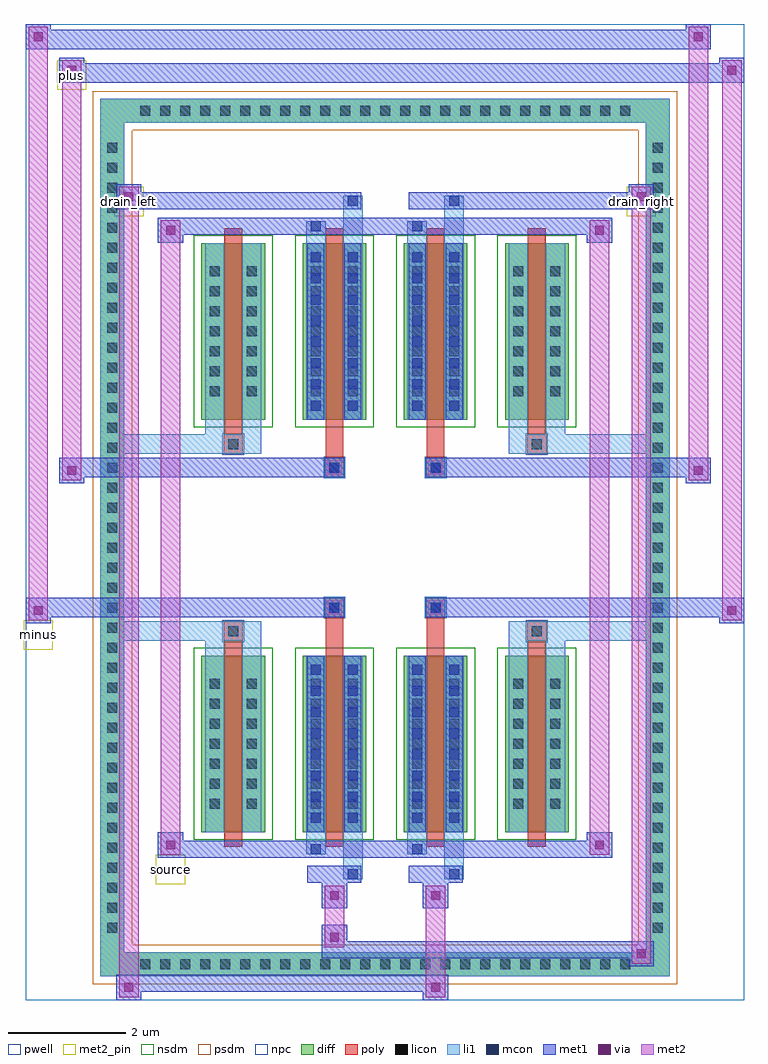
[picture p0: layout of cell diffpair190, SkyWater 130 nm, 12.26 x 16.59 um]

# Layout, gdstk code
import gdstk
lib = gdstk.Library(unit=1e-6, precision=5e-09)
def R(c, l, rs):  # rectangles x0, y0, x1, y1
    for r in rs: c.add(gdstk.rectangle(r[:2], r[2:], *l))
def A(c, l, x, y, w, h, nx, ny, dx, dy):  # array of equal rectangles
    R(c, l, [(x+i*dx, y+j*dy, x+i*dx+w, y+j*dy+h) for i in range(nx) for j in range(ny)])
def P(c, l, *ps):  # polygons
    for p in ps: c.add(gdstk.Polygon(p, *l))
pwell = (64, 44)
diff = (65, 20)
poly = (66, 20)
licon = (66, 44)
li1 = (67, 20)
mcon = (67, 44)
met1 = (68, 20)
via = (68, 44)
met2_pin = (69, 16)
met2 = (69, 20)
nsdm = (93, 44)
psdm = (94, 20)
npc = (95, 20)

diffpair190 = lib.new_cell('diffpair190')
R(diffpair190, pwell, [(-6.11,-7.86,6.11,8.73), (-3.43,-6.05,-0.01,-0.825), (0.01,-6.05,3.43,-0.825), (-3.43,0.825,-0.01,6.05), (0.01,0.825,3.43,6.05)])
A(diffpair190, diff, -4.285, -7.46, 0.41, 0.41, 25, 2, 0.34, 14.51)
A(diffpair190, diff, -4.84, -6.835, 0.41, 0.41, 1, 40, 0, 0.34)
A(diffpair190, diff, 4.43, -6.835, 0.41, 0.41, 1, 40, 0, 0.34)
A(diffpair190, diff, -3.12, -5.005, 1.08, 3, 4, 2, 1.72, 7.01)
R(diffpair190, diff, [(-4.285,-7.46,4.285,-7.05), (-4.84,-6.835,-4.43,6.835), (4.43,-6.835,4.84,6.835), (-4.285,7.05,4.285,7.46)])
P(diffpair190, diff, [(4.84,7.46),(-4.84,7.46),(-4.84,-7.05),(-4.43,-7.05),(-4.43,7.05),(4.43,7.05),(4.43,-7.05),(-4.43,-7.05),(-4.84,-7.05),(-4.84,-7.46),(4.84,-7.46)])
A(diffpair190, poly, -2.73, -5.255, 0.3, 3.5, 4, 2, 1.72, 7.01)
R(diffpair190, poly, [(-2.745,-1.755,-2.415,-1.425), (-2.745,-1.755,-2.415,-1.425), (-1.01,-1.755,-0.71,-1.355), (0.71,-1.755,1.01,-1.355), (2.415,-1.755,2.745,-1.425), (2.415,-1.755,2.745,-1.425), (-1.025,-1.355,-0.695,-1.025), (-1.025,-1.355,-0.695,-1.025), (0.695,-1.355,1.025,-1.025), (0.695,-1.355,1.025,-1.025), (-1.025,1.025,-0.695,1.355), (-1.025,1.025,-0.695,1.355), (0.695,1.025,1.025,1.355), (0.695,1.025,1.025,1.355), (-1.01,1.355,-0.71,1.755), (0.71,1.355,1.01,1.755), (-2.745,1.425,-2.415,1.755), (-2.745,1.425,-2.415,1.755), (2.415,1.425,2.745,1.755), (2.415,1.425,2.745,1.755)])
A(diffpair190, licon, -4.165, -7.34, 0.17, 0.17, 25, 2, 0.34, 14.51)
A(diffpair190, licon, -4.72, -6.715, 0.17, 0.17, 1, 40, 0, 0.34)
A(diffpair190, licon, 4.55, -6.715, 0.17, 0.17, 1, 40, 0, 0.34)
A(diffpair190, licon, -2.98, -4.61, 0.17, 0.17, 1, 7, 0, 0.34)
A(diffpair190, licon, -2.35, -4.61, 0.17, 0.17, 1, 7, 0, 0.34)
A(diffpair190, licon, -1.26, -4.61, 0.17, 0.17, 1, 7, 0, 0.34)
A(diffpair190, licon, -0.63, -4.61, 0.17, 0.17, 1, 7, 0, 0.34)
A(diffpair190, licon, 0.46, -4.61, 0.17, 0.17, 1, 7, 0, 0.34)
A(diffpair190, licon, 1.09, -4.61, 0.17, 0.17, 1, 7, 0, 0.34)
A(diffpair190, licon, 2.18, -4.61, 0.17, 0.17, 1, 7, 0, 0.34)
A(diffpair190, licon, 2.81, -4.61, 0.17, 0.17, 1, 7, 0, 0.34)
A(diffpair190, licon, -2.98, 2.4, 0.17, 0.17, 1, 7, 0, 0.34)
A(diffpair190, licon, -2.35, 2.4, 0.17, 0.17, 1, 7, 0, 0.34)
A(diffpair190, licon, -1.26, 2.4, 0.17, 0.17, 1, 7, 0, 0.34)
A(diffpair190, licon, -0.63, 2.4, 0.17, 0.17, 1, 7, 0, 0.34)
A(diffpair190, licon, 0.46, 2.4, 0.17, 0.17, 1, 7, 0, 0.34)
A(diffpair190, licon, 1.09, 2.4, 0.17, 0.17, 1, 7, 0, 0.34)
A(diffpair190, licon, 2.18, 2.4, 0.17, 0.17, 1, 7, 0, 0.34)
A(diffpair190, licon, 2.81, 2.4, 0.17, 0.17, 1, 7, 0, 0.34)
R(diffpair190, licon, [(-2.665,-1.675,-2.495,-1.505), (2.495,-1.675,2.665,-1.505), (-0.945,-1.275,-0.775,-1.105), (0.775,-1.275,0.945,-1.105), (-0.945,1.105,-0.775,1.275), (0.775,1.105,0.945,1.275), (-2.665,1.505,-2.495,1.675), (2.495,1.505,2.665,1.675)])
A(diffpair190, li1, -4.245, -7.42, 0.33, 0.33, 25, 2, 0.34, 14.51)
A(diffpair190, li1, -4.8, -6.795, 0.33, 0.33, 1, 40, 0, 0.34)
A(diffpair190, li1, 4.47, -6.795, 0.33, 0.33, 1, 40, 0, 0.34)
A(diffpair190, li1, -1.26, -4.85, 0.17, 0.17, 1, 8, 0, 0.36)
A(diffpair190, li1, -0.63, -4.85, 0.17, 0.17, 1, 8, 0, 0.36)
A(diffpair190, li1, 0.46, -4.85, 0.17, 0.17, 1, 8, 0, 0.36)
A(diffpair190, li1, 1.09, -4.85, 0.17, 0.17, 1, 8, 0, 0.36)
A(diffpair190, li1, -3.06, -4.69, 0.33, 0.33, 1, 7, 0, 0.34)
A(diffpair190, li1, -2.43, -4.69, 0.33, 0.33, 1, 7, 0, 0.34)
A(diffpair190, li1, -1.34, -4.69, 0.33, 0.33, 1, 7, 0, 0.34)
A(diffpair190, li1, -0.71, -4.69, 0.33, 0.33, 1, 7, 0, 0.34)
A(diffpair190, li1, 0.38, -4.69, 0.33, 0.33, 1, 7, 0, 0.34)
A(diffpair190, li1, 1.01, -4.69, 0.33, 0.33, 1, 7, 0, 0.34)
A(diffpair190, li1, 2.1, -4.69, 0.33, 0.33, 1, 7, 0, 0.34)
A(diffpair190, li1, 2.73, -4.69, 0.33, 0.33, 1, 7, 0, 0.34)
A(diffpair190, li1, -1.26, 2.16, 0.17, 0.17, 1, 8, 0, 0.36)
A(diffpair190, li1, -0.63, 2.16, 0.17, 0.17, 1, 8, 0, 0.36)
A(diffpair190, li1, 0.46, 2.16, 0.17, 0.17, 1, 8, 0, 0.36)
A(diffpair190, li1, 1.09, 2.16, 0.17, 0.17, 1, 8, 0, 0.36)
A(diffpair190, li1, -3.06, 2.32, 0.33, 0.33, 1, 7, 0, 0.34)
A(diffpair190, li1, -2.43, 2.32, 0.33, 0.33, 1, 7, 0, 0.34)
A(diffpair190, li1, -1.34, 2.32, 0.33, 0.33, 1, 7, 0, 0.34)
A(diffpair190, li1, -0.71, 2.32, 0.33, 0.33, 1, 7, 0, 0.34)
A(diffpair190, li1, 0.38, 2.32, 0.33, 0.33, 1, 7, 0, 0.34)
A(diffpair190, li1, 1.01, 2.32, 0.33, 0.33, 1, 7, 0, 0.34)
A(diffpair190, li1, 2.1, 2.32, 0.33, 0.33, 1, 7, 0, 0.34)
A(diffpair190, li1, 2.73, 2.32, 0.33, 0.33, 1, 7, 0, 0.34)
R(diffpair190, li1, [(-4.84,-7.46,-4.43,-7.05), (-4.84,-7.46,-4.43,-7.05), (-4.43,-7.46,4.43,-7.05), (4.43,-7.46,4.84,-7.05), (4.43,-7.46,4.84,-7.05), (-4.84,-7.05,-4.43,7.05), (4.43,-7.05,4.84,7.05), (-0.71,-5.81,-0.38,-5.005), (-0.63,-5.81,-0.46,-5.64), (1.01,-5.81,1.34,-5.005), (1.09,-5.81,1.26,-5.64), (-1.34,-5.38,-1.01,-5.005), (-1.26,-5.38,-1.09,-5.21), (0.38,-5.38,0.71,-5.005), (0.46,-5.38,0.63,-5.21), (-3.06,-5.005,-2.73,-2.005), (-2.43,-5.005,-2.1,-2.005), (-1.34,-5.005,-1.01,-2.005), (-0.71,-5.005,-0.38,-2.005), (0.38,-5.005,0.71,-2.005), (1.01,-5.005,1.34,-2.005), (2.1,-5.005,2.43,-2.005), (2.73,-5.005,3.06,-2.005), (-1.26,-4.85,-1.09,-2.16), (-0.63,-4.85,-0.46,-2.16), (0.46,-4.85,0.63,-2.16), (1.09,-4.85,1.26,-2.16), (-3.06,-2.005,-2.73,-1.425), (-2.43,-2.005,-2.1,-1.425), (2.1,-2.005,2.43,-1.425), (2.73,-2.005,3.06,-1.425), (-4.84,-1.755,-2.745,-1.425), (-3.06,-1.755,-2.745,-1.425), (-2.745,-1.755,-2.415,-1.425), (-2.415,-1.755,-2.1,-1.425), (2.1,-1.755,2.415,-1.425), (2.415,-1.755,2.745,-1.425), (2.415,-1.755,4.84,-1.425), (2.745,-1.755,3.06,-1.425), (-1.025,-1.355,-0.695,-1.025), (0.695,-1.355,1.025,-1.025), (-1.025,1.025,-0.695,1.355), (0.695,1.025,1.025,1.355), (-4.84,1.425,-2.745,1.755), (-3.06,1.425,-2.745,1.755), (-3.06,1.425,-2.73,2.005), (-2.745,1.425,-2.415,1.755), (-2.43,1.425,-2.1,2.005), (-2.415,1.425,-2.1,1.755), (2.1,1.425,2.415,1.755), (2.1,1.425,2.43,2.005), (2.415,1.425,2.745,1.755), (2.415,1.425,4.84,1.755), (2.73,1.425,3.06,2.005), (2.745,1.425,3.06,1.755), (-3.06,2.005,-2.73,5.005), (-2.43,2.005,-2.1,5.005), (-1.34,2.005,-1.01,5.005), (-0.71,2.005,-0.38,5.005), (0.38,2.005,0.71,5.005), (1.01,2.005,1.34,5.005), (2.1,2.005,2.43,5.005), (2.73,2.005,3.06,5.005), (-1.26,2.16,-1.09,4.85), (-0.63,2.16,-0.46,4.85), (0.46,2.16,0.63,4.85), (1.09,2.16,1.26,4.85), (-1.34,5.005,-1.01,5.38), (-0.71,5.005,-0.38,5.81), (0.38,5.005,0.71,5.38), (1.01,5.005,1.34,5.81), (-1.26,5.21,-1.09,5.38), (0.46,5.21,0.63,5.38), (-0.63,5.64,-0.46,5.81), (1.09,5.64,1.26,5.81), (-4.84,7.05,-4.43,7.46), (-4.84,7.05,-4.43,7.46), (-4.43,7.05,4.43,7.46), (4.43,7.05,4.84,7.46), (4.43,7.05,4.84,7.46)])
A(diffpair190, mcon, -1.26, -4.85, 0.17, 0.17, 1, 8, 0, 0.36)
A(diffpair190, mcon, -0.63, -4.85, 0.17, 0.17, 1, 8, 0, 0.36)
A(diffpair190, mcon, 0.46, -4.85, 0.17, 0.17, 1, 8, 0, 0.36)
A(diffpair190, mcon, 1.09, -4.85, 0.17, 0.17, 1, 8, 0, 0.36)
A(diffpair190, mcon, -1.26, 2.16, 0.17, 0.17, 1, 8, 0, 0.36)
A(diffpair190, mcon, -0.63, 2.16, 0.17, 0.17, 1, 8, 0, 0.36)
A(diffpair190, mcon, 0.46, 2.16, 0.17, 0.17, 1, 8, 0, 0.36)
A(diffpair190, mcon, 1.09, 2.16, 0.17, 0.17, 1, 8, 0, 0.36)
R(diffpair190, mcon, [(-0.63,-5.81,-0.46,-5.64), (1.09,-5.81,1.26,-5.64), (-1.26,-5.38,-1.09,-5.21), (0.46,-5.38,0.63,-5.21), (-0.945,-1.275,-0.775,-1.105), (0.775,-1.275,0.945,-1.105), (-0.945,1.105,-0.775,1.275), (0.775,1.105,0.945,1.275), (-1.26,5.21,-1.09,5.38), (0.46,5.21,0.63,5.38), (-0.63,5.64,-0.46,5.81), (1.09,5.64,1.26,5.81)])
A(diffpair190, met1, -1.32, -4.91, 0.29, 0.29, 1, 8, 0, 0.36)
A(diffpair190, met1, -0.69, -4.91, 0.29, 0.29, 1, 8, 0, 0.36)
A(diffpair190, met1, 0.4, -4.91, 0.29, 0.29, 1, 8, 0, 0.36)
A(diffpair190, met1, 1.03, -4.91, 0.29, 0.29, 1, 8, 0, 0.36)
A(diffpair190, met1, -1.32, 2.1, 0.29, 0.29, 1, 8, 0, 0.36)
A(diffpair190, met1, -0.69, 2.1, 0.29, 0.29, 1, 8, 0, 0.36)
A(diffpair190, met1, 0.4, 2.1, 0.29, 0.29, 1, 8, 0, 0.36)
A(diffpair190, met1, 1.03, 2.1, 0.29, 0.29, 1, 8, 0, 0.36)
R(diffpair190, met1, [(-4.57,-7.86,-4.14,-7.43), (0.645,-7.86,1.075,-7.43), (-4.57,-7.72,1.075,-7.43), (4.14,-7.29,4.57,-6.86), (-1.075,-7.15,4.57,-6.86), (-1.075,-7.01,-0.645,-6.58), (-1.075,-6.3,-0.645,-5.87), (0.645,-6.3,1.075,-5.87), (-1.32,-5.87,-0.4,-5.58), (-0.69,-5.87,-0.4,-5.58), (0.4,-5.87,1.32,-5.58), (1.03,-5.87,1.32,-5.58), (-3.86,-5.44,-3.43,-5.01), (-3.86,-5.44,-1.32,-5.15), (-1.32,-5.44,-1.03,-5.15), (-1.32,-5.44,-0.4,-5.15), (-0.4,-5.44,0.4,-5.15), (0.4,-5.44,0.69,-5.15), (0.4,-5.44,1.32,-5.15), (1.32,-5.44,3.86,-5.15), (3.43,-5.44,3.86,-5.01), (-1.32,-5.005,-1.03,-2.005), (-0.69,-5.005,-0.4,-2.005), (0.4,-5.005,0.69,-2.005), (1.03,-5.005,1.32,-2.005), (-6.11,-1.455,-5.68,-1.025), (5.68,-1.455,6.11,-1.025), (-6.11,-1.355,-0.695,-1.025), (-1.025,-1.355,-0.695,-1.025), (0.695,-1.355,1.025,-1.025), (0.695,-1.355,6.11,-1.025), (-1.005,-1.335,-0.715,-1.045), (0.715,-1.335,1.005,-1.045), (-5.54,0.925,-5.11,1.355), (5.11,0.925,5.54,1.355), (-5.54,1.025,-1.025,1.355), (-1.025,1.025,-0.695,1.355), (0.695,1.025,1.025,1.355), (1.025,1.025,5.54,1.355), (-1.005,1.045,-0.715,1.335), (0.715,1.045,1.005,1.335), (-1.32,2.005,-1.03,5.005), (-0.69,2.005,-0.4,5.005), (0.4,2.005,0.69,5.005), (1.03,2.005,1.32,5.005), (-3.86,5.01,-3.43,5.44), (3.43,5.01,3.86,5.44), (-3.86,5.15,-1.32,5.44), (-1.32,5.15,-1.03,5.44), (-1.32,5.15,-0.4,5.44), (-0.4,5.15,0.4,5.44), (0.4,5.15,0.69,5.44), (0.4,5.15,1.32,5.44), (1.32,5.15,3.86,5.44), (-4.57,5.58,-4.14,6.01), (-4.57,5.58,-1.32,5.87), (-1.32,5.58,-0.4,5.87), (-0.69,5.58,-0.4,5.87), (0.4,5.58,1.32,5.87), (1.03,5.58,1.32,5.87), (1.32,5.58,4.57,5.87), (4.14,5.58,4.57,6.01), (-5.54,7.73,-5.11,8.16), (-5.54,7.73,-3.43,8.06), (-3.43,7.73,3.43,8.06), (3.43,7.73,6.11,8.06), (5.68,7.73,6.11,8.16), (-6.11,8.3,-5.68,8.73), (-6.11,8.3,-3.43,8.63), (-3.43,8.3,3.43,8.63), (3.43,8.3,5.54,8.63), (5.11,8.3,5.54,8.73)])
R(diffpair190, via, [(-4.43,-7.72,-4.28,-7.57), (0.785,-7.72,0.935,-7.57), (4.28,-7.15,4.43,-7), (-0.935,-6.87,-0.785,-6.72), (-0.935,-6.16,-0.785,-6.01), (0.785,-6.16,0.935,-6.01), (-3.72,-5.3,-3.57,-5.15), (3.57,-5.3,3.72,-5.15), (-5.97,-1.315,-5.82,-1.165), (5.82,-1.315,5.97,-1.165), (-5.4,1.065,-5.25,1.215), (5.25,1.065,5.4,1.215), (-3.72,5.15,-3.57,5.3), (3.57,5.15,3.72,5.3), (-4.43,5.72,-4.28,5.87), (4.28,5.72,4.43,5.87), (-5.4,7.87,-5.25,8.02), (5.82,7.87,5.97,8.02), (-5.97,8.44,-5.82,8.59), (5.25,8.44,5.4,8.59)])
R(diffpair190, met2_pin, [(-3.895,-5.89,-3.395,-5.39), (-6.145,-1.905,-5.645,-1.405), (-4.605,5.46,-4.105,5.96), (4.105,5.46,4.605,5.96), (-5.575,7.61,-5.075,8.11)])
R(diffpair190, met2, [(-4.52,-7.81,-4.19,-7.48), (-4.52,-7.81,-4.19,5.96), (0.695,-7.81,1.025,-7.48), (0.695,-7.48,1.025,-6.25), (4.19,-7.24,4.52,-6.91), (4.19,-7.24,4.52,5.96), (-1.025,-6.96,-0.695,-6.63), (-1.025,-6.63,-0.695,-6.25), (-1.025,-6.25,-0.695,-5.92), (0.695,-6.25,1.025,-5.92), (-3.81,-5.39,-3.48,-5.06), (-3.81,-5.39,-3.48,5.39), (3.48,-5.39,3.81,-5.06), (3.48,-5.39,3.81,5.39), (-6.06,-1.405,-5.73,-1.075), (-6.06,-1.405,-5.73,8.68), (5.73,-1.405,6.06,-1.075), (5.73,-1.405,6.06,8.11), (-5.49,0.975,-5.16,1.305), (-5.49,0.975,-5.16,8.11), (5.16,0.975,5.49,1.305), (5.16,0.975,5.49,8.68), (-3.81,5.06,-3.48,5.39), (3.48,5.06,3.81,5.39), (-4.52,5.63,-4.19,5.96), (4.19,5.63,4.52,5.96), (-5.49,7.78,-5.16,8.11), (5.73,7.78,6.06,8.11), (-6.06,8.35,-5.73,8.68), (5.16,8.35,5.49,8.68)])
P(diffpair190, met2, [(6.06,-1.405),(6.06,-1.405),(6.06,-1.075),(6.06,-1.075)],
  [(6.06,7.78),(6.06,7.78),(6.06,8.11),(6.06,8.11)],
  [(-5.73,-1.405),(-5.73,-1.405),(-5.73,-1.075),(-5.73,-1.075)],
  [(-5.73,8.35),(-5.73,8.35),(-5.73,8.68),(-5.73,8.68)],
  [(5.49,0.975),(5.49,0.975),(5.49,1.305),(5.49,1.305)],
  [(5.49,8.35),(5.49,8.35),(5.49,8.68),(5.49,8.68)],
  [(-5.16,0.975),(-5.16,0.975),(-5.16,1.305),(-5.16,1.305)],
  [(-5.16,7.78),(-5.16,7.78),(-5.16,8.11),(-5.16,8.11)],
  [(-4.19,-7.81),(-4.19,-7.81),(-4.19,-7.48),(-4.19,-7.48)],
  [(-4.19,5.63),(-4.19,5.63),(-4.19,5.96),(-4.19,5.96)],
  [(4.52,-7.24),(4.52,-7.24),(4.52,-6.91),(4.52,-6.91)],
  [(4.52,5.63),(4.52,5.63),(4.52,5.96),(4.52,5.96)],
  [(-3.48,-5.39),(-3.48,-5.39),(-3.48,-5.06),(-3.48,-5.06)],
  [(-3.48,5.06),(-3.48,5.06),(-3.48,5.39),(-3.48,5.39)],
  [(3.81,-5.39),(3.81,-5.39),(3.81,-5.06),(3.81,-5.06)],
  [(3.81,5.06),(3.81,5.06),(3.81,5.39),(3.81,5.39)])
A(diffpair190, nsdm, -3.25, -5.135, 1.34, 3.26, 4, 2, 1.72, 7.01)
P(diffpair190, psdm, [(4.97,7.59),(-4.97,7.59),(-4.97,-6.92),(-4.3,-6.92),(-4.3,6.92),(4.3,6.92),(4.3,-6.92),(-4.3,-6.92),(-4.97,-6.92),(-4.97,-7.59),(4.97,-7.59)])
R(diffpair190, npc, [(-2.765,-1.775,-2.395,-1.405), (2.395,-1.775,2.765,-1.405), (-1.045,-1.375,-0.675,-1.005), (0.675,-1.375,1.045,-1.005), (-1.045,1.005,-0.675,1.375), (0.675,1.005,1.045,1.375), (-2.765,1.405,-2.395,1.775), (2.395,1.405,2.765,1.775)])
diffpair190.add(gdstk.Label('minus', (-5.895,-1.655), layer=69, texttype=5))
diffpair190.add(gdstk.Label('drain_right', (4.355,5.71), layer=69, texttype=5))
diffpair190.add(gdstk.Label('drain_left', (-4.355,5.71), layer=69, texttype=5))
diffpair190.add(gdstk.Label('source', (-3.645,-5.64), layer=69, texttype=5))
diffpair190.add(gdstk.Label('plus', (-5.325,7.86), layer=69, texttype=5))

lib.write_gds('diffpair190.gds')
